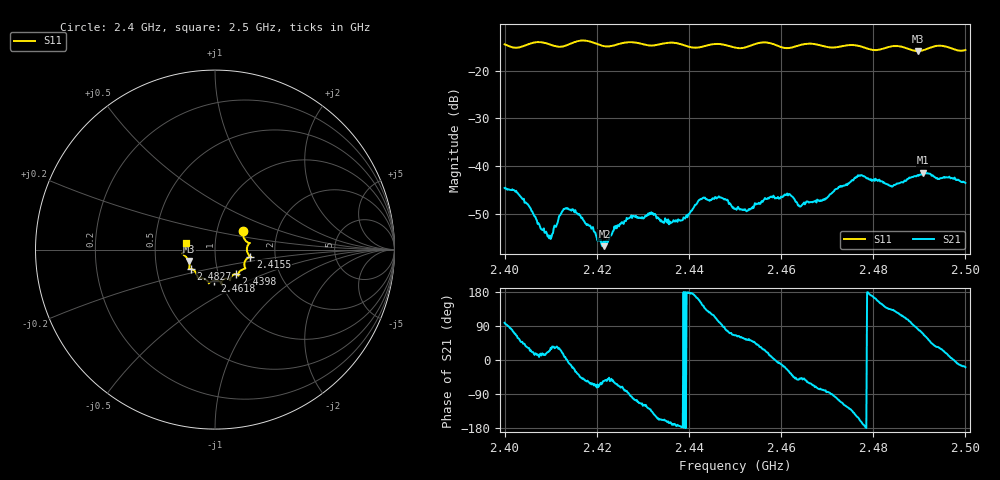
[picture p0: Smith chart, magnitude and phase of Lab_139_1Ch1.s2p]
# Hz S RI R 50
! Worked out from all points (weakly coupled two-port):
!   601 points, 2.4 GHz to 2.5 GHz, reference 50 ohm
!   highest |S21| = -41.39 dB at 2.4908 GHz (marker M1); lowest = -56.8 dB at 2.4217 GHz (marker M2)
!   lowest |S11| = -15.9 dB at 2.4897 GHz (marker M3), VSWR 1.38, Z = 36.9 - j4.85 ohm
!   |S11| at or under -10 dB: start of sweep to end of sweep
!   S12 and S22 are empty: the file has one direction only
!   S11 on the Smith chart (normalised r, x): 2.4 GHz: 1.33, +0.29; 2.4155 GHz: 1.49, -0.12; 2.4398 GHz: 1.21, -0.34; 2.4618 GHz: 0.94, -0.33; 2.4827 GHz: 0.75, -0.17; 2.5 GHz: 0.72, +0.06
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2.4e9  0.1559 0.1061  -0.000832 0.00584  0 0  0 0
2.403e9  0.1646 0.058  0.00276 0.00428  0 0  0 0
2.409667e9  0.1866 0.0298  0.0016 0.000712  0 0  0 0
2.412833e9  0.1796 -0.0119  0.00348 0.000738  0 0  0 0
2.4155e9  0.1972 -0.0394  0.0028 -0.00167  0 0  0 0
2.416667e9  0.2021 -0.0426  0.00192 -0.0021  0 0  0 0
2.421667e9  0.1698 -0.0598  0.00083 -0.00119  0 0  0 0
2.427e9  0.1693 -0.1036  3.56e-05 -0.00285  0 0  0 0
2.433333e9  0.1301 -0.1346  -0.0026 -0.00127  0 0  0 0
2.439833e9  0.1151 -0.1365  -0.00312 7.39e-05  0 0  0 0
2.443e9  0.0882 -0.1551  -0.00374 0.00274  0 0  0 0
2.447e9  0.0834 -0.1695  -0.000371 0.00466  0 0  0 0
2.45e9  0.0645 -0.1618  0.00148 0.00325  0 0  0 0
2.461833e9  -0.00347 -0.1726  0.00429 -0.00276  0 0  0 0
2.464e9  -0.0281 -0.1824  0.00248 -0.00286  0 0  0 0
2.466667e9  -0.0349 -0.1879  0.00183 -0.0038  0 0  0 0
2.477167e9  -0.0972 -0.1515  -0.00745 -0.00267  0 0  0 0
2.482667e9  -0.1346 -0.1083  -0.00494 0.00429  0 0  0 0
2.483333e9  -0.1397 -0.108  -0.00443 0.00451  0 0  0 0
2.489667e9  -0.1466 -0.064  0.00114 0.00798  0 0  0 0
2.490833e9  -0.1561 -0.0479  0.00304 0.00796  0 0  0 0
2.5e9  -0.1597 0.0389  0.00631 -0.00217  0 0  0 0
